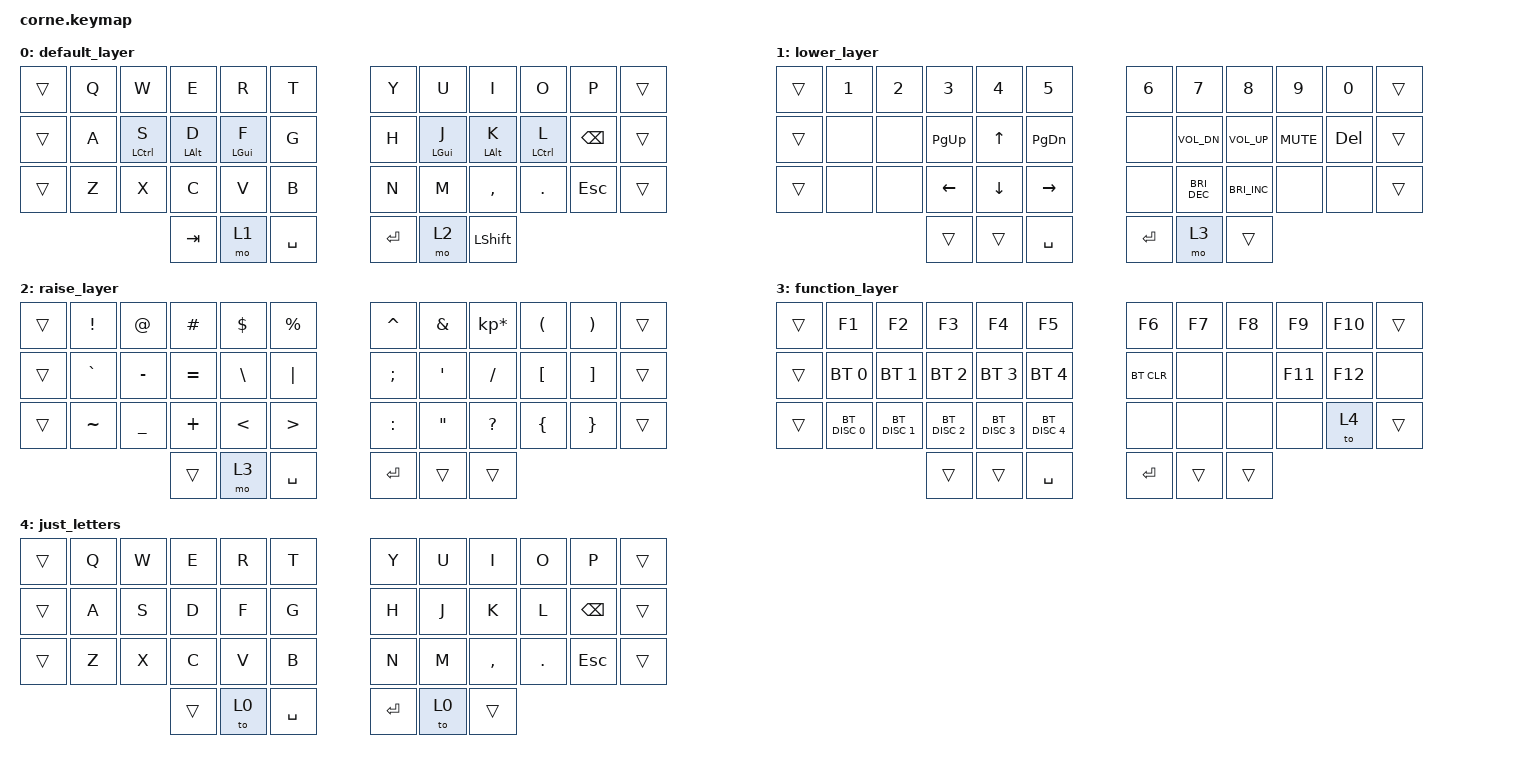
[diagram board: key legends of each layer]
/*
 * Copyright (c) 2020 The ZMK Contributors
 *
 * SPDX-License-Identifier: MIT
 */

#include <behaviors.dtsi>
#include <dt-bindings/zmk/bt.h>
#include <dt-bindings/zmk/keys.h>

&mt {
    flavor = "balanced";
    require-prior-idle-ms = <210>;
    tapping-term-ms = <200>;
    hold-trigger-key-positions = <>;
    hold-trigger-on-release;
    quick-tap-ms = <75>;
};

/ {
    keymap {
        compatible = "zmk,keymap";

        default_layer {
            // -----------------------------------------------------------------------------------------
            // |  TAB |  Q  |  W  |  E  |  R  |  T  |   |  Y  |  U   |  I  |  O  |  P  | BKSP |
            // | CTRL |  A  |  S  |  D  |  F  |  G  |   |  H  |  J   |  K  |  L  |  ;  |  '   |
            // | SHFT |  Z  |  X  |  C  |  V  |  B  |   |  N  |  M   |  ,  |  .  |  /  | ESC  |
            //                    | GUI | LWR | SPC |   | ENT | RSE  | ALT |

            bindings = <
&trans  &kp Q  &kp W        &kp E           &kp R           &kp T        &kp Y    &kp U           &kp I           &kp O        &kp P          &trans
&trans  &kp A  &mt LCTRL S  &mt LEFT_ALT D  &mt LEFT_GUI F  &kp G        &kp H    &mt LEFT_GUI J  &mt LEFT_ALT K  &mt LCTRL L  &kp BACKSPACE  &trans
&trans  &kp Z  &kp X        &kp C           &kp V           &kp B        &kp N    &kp M           &kp COMMA       &kp PERIOD   &kp ESCAPE     &trans
                            &kp TAB         &mo 1           &kp SPACE    &kp RET  &mo 2           &kp LEFT_SHIFT
            >;
        };

        lower_layer {
            // -----------------------------------------------------------------------------------------
            // |  TAB |  1  |  2  |  3  |  4  |  5  |   |  6  |  7  |  8  |  9  |  0  | BKSP |
            // | BTCLR| BT1 | BT2 | BT3 | BT4 | BT5 |   | LFT | DWN |  UP | RGT |     |      |
            // | SHFT |     |     |     |     |     |   |     |     |     |     |     |      |
            //                    | GUI |     | SPC |   | ENT |     | ALT |

            bindings = <
&trans  &kp N1  &kp N2  &kp N3     &kp N4    &kp N5           &kp N6   &kp N7                &kp N8                &kp N9      &kp N0   &trans
&trans  &none   &none   &kp PG_UP  &kp UP    &kp PAGE_DOWN    &none    &kp C_VOL_DN          &kp C_VOL_UP          &kp C_MUTE  &kp DEL  &trans
&trans  &none   &none   &kp LEFT   &kp DOWN  &kp RIGHT        &none    &kp C_BRIGHTNESS_DEC  &kp C_BRIGHTNESS_INC  &none       &none    &trans
                        &trans     &trans    &kp SPACE        &kp RET  &mo 3                 &trans
            >;
        };

        raise_layer {
            // -----------------------------------------------------------------------------------------
            // |  TAB |  !  |  @  |  #  |  $  |  %  |   |  ^  |  &  |  *  |  (  |  )  | BKSP |
            // | CTRL |     |     |     |     |     |   |  -  |  =  |  [  |  ]  |  \  |  `   |
            // | SHFT |     |     |     |     |     |   |  _  |  +  |  {  |  }  | "|" |  ~   |
            //                    | GUI |     | SPC |   | ENT |     | ALT |

            bindings = <
&trans  &kp EXCL   &kp AT     &kp HASH   &kp DLLR       &kp PRCNT           &kp CARET  &kp AMPS  &kp KP_MULTIPLY  &kp LPAR  &kp RPAR  &trans
&trans  &kp GRAVE  &kp MINUS  &kp EQUAL  &kp BACKSLASH  &kp PIPE            &kp SEMI   &kp APOS  &kp SLASH        &kp LBKT  &kp RBKT  &trans
&trans  &kp TILDE  &kp UNDER  &kp PLUS   &kp LESS_THAN  &kp GREATER_THAN    &kp COLON  &kp DQT   &kp QUESTION     &kp LBRC  &kp RBRC  &trans
                              &trans     &mo 3          &kp SPACE           &kp RET    &trans    &trans
            >;
        };

        function_layer {
            bindings = <
&trans  &kp F1         &kp F2         &kp F3         &kp F4         &kp F5           &kp F6      &kp F7  &kp F8  &kp F9   &kp F10  &trans
&trans  &bt BT_SEL 0   &bt BT_SEL 1   &bt BT_SEL 2   &bt BT_SEL 3   &bt BT_SEL 4     &bt BT_CLR  &none   &none   &kp F11  &kp F12  &none
&trans  &bt BT_DISC 0  &bt BT_DISC 1  &bt BT_DISC 2  &bt BT_DISC 3  &bt BT_DISC 4    &none       &none   &none   &none    &to 4    &trans
                                      &trans         &trans         &kp SPACE        &kp ENTER   &trans  &trans
            >;
        };

        just_letters {
            bindings = <
&trans  &kp Q  &kp W  &kp E   &kp R  &kp T        &kp Y      &kp U  &kp I      &kp O    &kp P     &trans
&trans  &kp A  &kp S  &kp D   &kp F  &kp G        &kp H      &kp J  &kp K      &kp L    &kp BSPC  &trans
&trans  &kp Z  &kp X  &kp C   &kp V  &kp B        &kp N      &kp M  &kp COMMA  &kp DOT  &kp ESC   &trans
                      &trans  &to 0  &kp SPACE    &kp ENTER  &to 0  &trans
            >;
        };
    };
};
